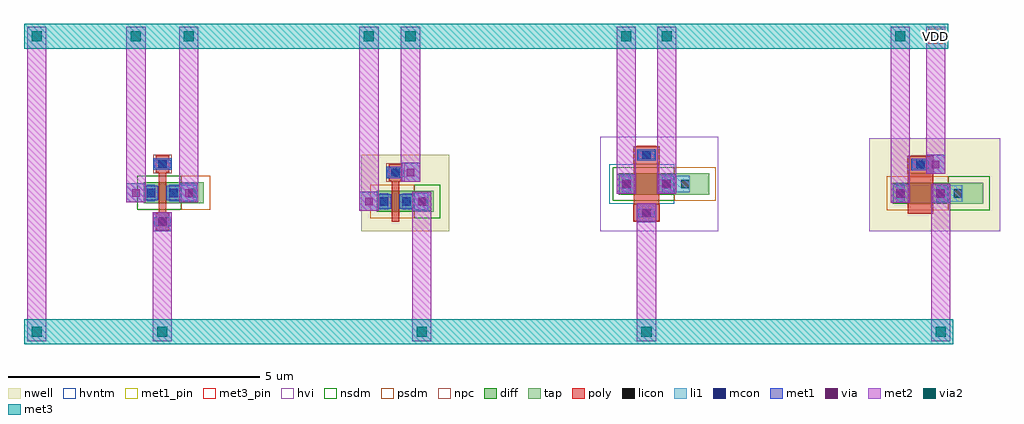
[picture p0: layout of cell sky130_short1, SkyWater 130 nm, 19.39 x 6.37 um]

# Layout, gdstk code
import gdstk
lib = gdstk.Library(unit=1e-6, precision=1e-09)
def R(c, l, rs):  # rectangles x0, y0, x1, y1
    for r in rs: c.add(gdstk.rectangle(r[:2], r[2:], *l))
def P(c, l, *ps):  # polygons
    for p in ps: c.add(gdstk.Polygon(p, *l))
nwell = (64, 20)
diff = (65, 20)
tap = (65, 44)
poly = (66, 20)
licon = (66, 44)
li1 = (67, 20)
mcon = (67, 44)
met1_pin = (68, 16)
met1 = (68, 20)
via = (68, 44)
met2 = (69, 20)
via2 = (69, 44)
met3_pin = (70, 16)
met3 = (70, 20)
hvi = (75, 20)
nsdm = (93, 44)
psdm = (94, 20)
npc = (95, 20)
hvntm = (125, 20)

sky130_short1 = lib.new_cell('sky130_short1')
R(sky130_short1, nwell, [(4.45,0,6.2,1.52), (14.55,0,16.97,1.84), (14.55,0,17.145,1.84)])
R(sky130_short1, diff, [(4.755,0.38,5.505,0.8), (15.015,0.54,16.115,0.96), (0.125,0.55,0.875,0.97), (9.57,0.725,10.67,1.145)])
R(sky130_short1, tap, [(5.505,0.38,5.895,0.8), (16.115,0.54,16.505,0.96), (16.115,0.54,16.815,0.96), (0.875,0.55,1.325,0.97), (10.67,0.725,11.12,1.145), (10.67,0.725,11.37,1.145)])
R(sky130_short1, poly, [(0.365,0.02,0.635,0.35), (5.055,0.18,5.205,1), (9.87,0.195,10.37,0.525), (15.315,0.34,15.815,1.16), (0.425,0.35,0.575,1.17), (9.87,0.525,10.37,1.345), (4.995,1,5.265,1.33), (15.315,1.16,15.815,1.49), (0.365,1.17,0.635,1.5), (9.87,1.345,10.37,1.675)])
R(sky130_short1, licon, [(0.415,0.1,0.585,0.27), (10.035,0.275,10.205,0.445), (4.82,0.505,4.99,0.675), (5.27,0.505,5.44,0.675), (5.615,0.505,5.785,0.675), (15.08,0.665,15.25,0.835), (15.88,0.665,16.05,0.835), (16.225,0.665,16.395,0.835), (0.19,0.675,0.36,0.845), (0.64,0.675,0.81,0.845), (1.015,0.675,1.185,0.845), (9.635,0.85,9.805,1.02), (10.435,0.85,10.605,1.02), (10.81,0.85,10.98,1.02), (5.045,1.08,5.215,1.25), (15.48,1.24,15.65,1.41), (0.415,1.25,0.585,1.42), (10.035,1.425,10.205,1.595)])
R(sky130_short1, li1, [(0.335,0.1,0.665,0.27), (9.955,0.275,10.285,0.445), (4.82,0.425,4.99,0.755), (5.27,0.425,5.44,0.755), (5.44,0.425,5.615,0.755), (5.615,0.425,5.785,0.755), (15.08,0.585,15.25,0.915), (15.88,0.585,16.05,0.915), (16.05,0.585,16.225,0.915), (16.225,0.585,16.395,0.915), (0.19,0.595,0.36,0.925), (0.64,0.595,0.81,0.925), (0.81,0.595,1.015,0.925), (1.015,0.595,1.185,0.925), (9.635,0.77,9.805,1.1), (10.435,0.77,10.605,1.1), (10.605,0.77,10.81,1.1), (10.81,0.77,10.98,1.1), (4.965,1.08,5.295,1.25), (15.4,1.24,15.73,1.41), (0.335,1.25,0.665,1.42), (9.955,1.425,10.285,1.595)])
R(sky130_short1, mcon, [(0.415,0.1,0.585,0.27), (10.035,0.275,10.205,0.445), (4.82,0.505,4.99,0.675), (5.27,0.505,5.44,0.675), (15.08,0.665,15.25,0.835), (15.88,0.665,16.05,0.835), (0.19,0.675,0.36,0.845), (0.64,0.675,0.81,0.845), (9.635,0.85,9.805,1.02), (10.435,0.85,10.605,1.02), (5.045,1.08,5.215,1.25), (15.48,1.24,15.65,1.41), (0.415,1.25,0.585,1.42), (10.035,1.425,10.205,1.595)])
R(sky130_short1, met1_pin, [(0.415,0.1,0.585,0.27), (10.035,0.275,10.205,0.445), (4.82,0.505,4.99,0.675), (5.27,0.505,5.44,0.675), (15.08,0.665,15.25,0.835), (15.88,0.665,16.05,0.835), (0.19,0.675,0.36,0.845), (0.64,0.675,0.81,0.845), (9.635,0.85,9.805,1.02), (10.435,0.85,10.605,1.02), (5.045,1.08,5.215,1.25), (15.48,1.24,15.65,1.41)])
R(sky130_short1, met1, [(0.31,-0.005,0.69,0.375), (0.315,0.07,0.685,0.3), (9.93,0.17,10.31,0.55), (9.935,0.245,10.305,0.475), (4.76,0.445,5.05,0.735), (5.21,0.445,5.5,0.735), (14.975,0.56,15.355,0.94), (15.775,0.56,16.155,0.94), (15.02,0.605,15.31,0.895), (15.82,0.605,16.11,0.895), (0.13,0.615,0.42,0.905), (0.58,0.615,0.87,0.905), (9.53,0.745,9.91,1.125), (10.33,0.745,10.71,1.125), (9.575,0.79,9.865,1.08), (10.375,0.79,10.665,1.08), (4.945,1.05,5.315,1.28), (15.38,1.21,15.75,1.44), (0.315,1.22,0.685,1.45), (9.935,1.395,10.305,1.625)])
P(sky130_short1, met1, [(-0.215,0.57),(-0.215,0.95),(0.165,0.95),(0.165,0.875),(0.275,0.875),(0.275,0.645),(0.165,0.645),(0.165,0.57)],
  [(0.835,0.57),(0.835,0.645),(0.725,0.645),(0.725,0.875),(0.835,0.875),(0.835,0.95),(1.215,0.95),(1.215,0.57)],
  [(4.415,0.4),(4.415,0.78),(4.795,0.78),(4.795,0.705),(4.905,0.705),(4.905,0.475),(4.795,0.475),(4.795,0.4)],
  [(5.24,0.975),(5.24,1.05),(5.13,1.05),(5.13,1.28),(5.24,1.28),(5.24,1.355),(5.62,1.355),(5.62,0.975)],
  [(5.465,0.4),(5.465,0.475),(5.355,0.475),(5.355,0.705),(5.465,0.705),(5.465,0.78),(5.845,0.78),(5.845,0.4)],
  [(15.675,1.135),(15.675,1.21),(15.565,1.21),(15.565,1.44),(15.675,1.44),(15.675,1.515),(16.055,1.515),(16.055,1.135)])
R(sky130_short1, via, [(0.425,0.11,0.575,0.26), (10.045,0.285,10.195,0.435), (4.53,0.515,4.68,0.665), (5.58,0.515,5.73,0.665), (15.09,0.675,15.24,0.825), (15.89,0.675,16.04,0.825), (-0.1,0.685,0.05,0.835), (0.95,0.685,1.1,0.835), (9.645,0.86,9.795,1.01), (10.445,0.86,10.595,1.01), (5.355,1.09,5.505,1.24), (15.79,1.25,15.94,1.4)])
R(sky130_short1, met2, [(-2.19,-2.19,-1.81,4.06), (0.31,-2.19,0.69,0.375), (5.465,-2.19,5.845,0.78), (9.93,-2.19,10.31,0.55), (15.775,-2.19,16.155,0.94), (4.415,0.4,4.795,4.06), (14.975,0.56,15.355,4.06), (-0.215,0.57,0.165,4.06), (0.835,0.57,1.215,4.06), (9.53,0.745,9.91,4.06), (10.33,0.745,10.71,4.06), (5.24,0.975,5.62,4.06), (15.675,1.135,16.055,4.06)])
R(sky130_short1, via2, [(-2.1,-2.1,-1.9,-1.9), (0.4,-2.1,0.6,-1.9), (5.555,-2.1,5.755,-1.9), (10.02,-2.1,10.22,-1.9), (15.865,-2.1,16.065,-1.9), (-2.1,3.77,-1.9,3.97), (-0.125,3.77,0.075,3.97), (0.925,3.77,1.125,3.97), (4.505,3.77,4.705,3.97), (5.33,3.77,5.53,3.97), (9.62,3.77,9.82,3.97), (10.42,3.77,10.62,3.97), (15.065,3.77,15.265,3.97), (15.765,3.77,15.965,3.97)])
R(sky130_short1, met3_pin, [(15.715,3.72,16.015,4.02)])
R(sky130_short1, met3, [(-2.25,-2.25,16.215,-1.75), (-2.25,3.62,16.115,4.12)])
R(sky130_short1, hvi, [(9.2,0,11.43,1.87), (9.2,0,11.55,1.87), (14.55,0,16.97,1.84), (14.55,0,17.145,1.84)])
R(sky130_short1, nsdm, [(5.505,0.255,6.02,0.925), (16.115,0.415,16.63,1.085), (16.115,0.415,16.94,1.085), (0,0.425,0.875,1.095), (9.445,0.6,10.67,1.27)])
R(sky130_short1, psdm, [(4.63,0.255,5.505,0.925), (14.89,0.415,16.115,1.085), (0.875,0.425,1.45,1.095), (10.67,0.6,11.245,1.27), (10.67,0.6,11.495,1.27)])
R(sky130_short1, npc, [(0.315,0,0.685,0.37), (0.355,0.01,0.645,0.36), (9.935,0.175,10.305,0.545), (9.86,0.185,10.38,0.535), (4.945,0.98,5.315,1.35), (4.985,0.99,5.275,1.34), (15.38,1.14,15.75,1.51), (0.315,1.15,0.685,1.52), (15.305,1.15,15.825,1.5), (0.355,1.16,0.645,1.51), (9.935,1.325,10.305,1.695), (9.86,1.335,10.38,1.685)])
R(sky130_short1, hvntm, [(9.385,0.54,10.67,1.33)])
sky130_short1.add(gdstk.Label('VDD', (15.865,3.87), layer=70, texttype=5))

lib.write_gds('sky130_short1.gds')
